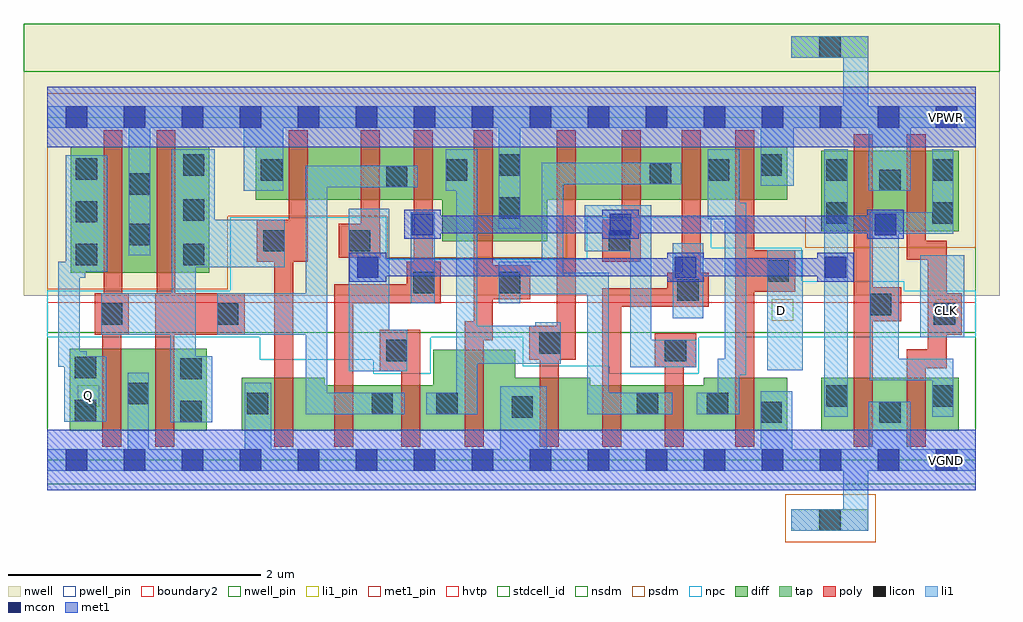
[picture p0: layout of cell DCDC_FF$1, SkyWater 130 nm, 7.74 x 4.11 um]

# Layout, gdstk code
import gdstk
lib = gdstk.Library(unit=1e-6, precision=1e-09)
def R(c, l, rs):  # rectangles x0, y0, x1, y1
    for r in rs: c.add(gdstk.rectangle(r[:2], r[2:], *l))
def A(c, l, x, y, w, h, nx, ny, dx, dy):  # array of equal rectangles
    R(c, l, [(x+i*dx, y+j*dy, x+i*dx+w, y+j*dy+h) for i in range(nx) for j in range(ny)])
def P(c, l, *ps):  # polygons
    for p in ps: c.add(gdstk.Polygon(p, *l))
nwell_pin = (64, 16)
nwell = (64, 20)
diff = (65, 20)
tap = (65, 44)
poly = (66, 20)
licon = (66, 44)
li1_pin = (67, 16)
li1 = (67, 20)
mcon = (67, 44)
met1_pin = (68, 16)
met1 = (68, 20)
hvtp = (78, 44)
stdcell_id = (81, 4)
nsdm = (93, 44)
psdm = (94, 20)
npc = (95, 20)
pwell_pin = (122, 16)
boundary2 = (236, 0)

dcdc_ff_1 = lib.new_cell('DCDC_FF$1')
R(dcdc_ff_1, nwell_pin, [(-71.972,4.667,-71.802,4.837), (-71.972,4.667,-71.802,4.837)])
R(dcdc_ff_1, nwell, [(-79.207,3.337,-71.467,5.492)])
R(dcdc_ff_1, diff, [(-78.842,2.267,-77.752,2.917), (-72.882,2.267,-71.792,2.687), (-78.832,3.517,-77.732,4.517), (-72.882,3.847,-71.792,4.487)])
P(dcdc_ff_1, diff, [(-77.477,2.267),(-77.477,2.687),(-76.817,2.687),(-76.817,2.627),(-75.957,2.627),(-75.957,2.907),(-75.307,2.907),(-75.307,2.687),(-74.712,2.687),(-74.712,2.627),(-73.812,2.627),(-73.812,2.687),(-73.152,2.687),(-73.152,2.267)],
  [(-75.887,3.767),(-75.887,4.097),(-77.367,4.097),(-77.367,4.517),(-73.152,4.517),(-73.152,4.097),(-75.052,4.097),(-75.052,3.767)])
R(dcdc_ff_1, tap, [(-73.117,1.472,-72.507,1.642), (-73.117,5.222,-72.507,5.392)])
P(dcdc_ff_1, poly, [(-75.707,2.137),(-75.707,3.132),(-75.637,3.132),(-75.637,4.647),(-75.487,4.647),(-75.487,3.577),(-75.187,3.577),(-75.187,3.307),(-75.487,3.307),(-75.487,2.982),(-75.557,2.982),(-75.557,2.137)],
  [(-76.212,2.137),(-76.212,2.737),(-76.382,2.737),(-76.382,3.067),(-76.062,3.067),(-76.062,2.137)],
  [(-78.162,2.137),(-78.162,3.357),(-78.152,3.357),(-78.152,4.647),(-78.002,4.647),(-78.002,3.357),(-77.452,3.357),(-77.452,3.027),(-78.012,3.027),(-78.012,2.137)],
  [(-78.582,2.137),(-78.582,3.027),(-78.642,3.027),(-78.642,3.357),(-78.572,3.357),(-78.572,4.647),(-78.422,4.647),(-78.422,3.357),(-78.372,3.357),(-78.372,3.027),(-78.432,3.027),(-78.432,2.137)],
  [(-72.202,2.137),(-72.202,2.912),(-72.037,2.912),(-72.037,3.622),(-72.202,3.622),(-72.202,4.617),(-72.052,4.617),(-72.052,3.772),(-71.887,3.772),(-71.887,3.357),(-71.767,3.357),(-71.767,3.027),(-71.887,3.027),(-71.887,2.762),(-72.052,2.762),(-72.052,2.137)],
  [(-76.742,2.137),(-76.742,3.427),(-76.167,3.427),(-76.167,3.607),(-76.112,3.607),(-76.112,4.647),(-75.962,4.647),(-75.962,3.607),(-75.897,3.607),(-75.897,3.277),(-76.592,3.277),(-76.592,2.137)],
  [(-72.622,2.137),(-72.622,4.617),(-72.472,4.617),(-72.472,3.402),(-72.247,3.402),(-72.247,3.132),(-72.472,3.132),(-72.472,2.137)],
  [(-76.707,3.637),(-76.707,3.907),(-76.532,3.907),(-76.532,4.647),(-76.382,4.647),(-76.382,3.907),(-76.377,3.907),(-76.377,3.637)],
  [(-77.217,2.137),(-77.217,3.607),(-77.357,3.607),(-77.357,3.937),(-77.102,3.937),(-77.102,4.647),(-76.952,4.647),(-76.952,3.607),(-77.067,3.607),(-77.067,2.137)],
  [(-74.617,3.607),(-74.617,3.937),(-74.462,3.937),(-74.462,4.647),(-74.312,4.647),(-74.312,3.607)],
  [(-74.617,2.137),(-74.617,3.397),(-74.102,3.397),(-74.102,3.517),(-73.987,3.517),(-73.987,4.647),(-73.837,4.647),(-73.837,3.517),(-73.772,3.517),(-73.772,3.247),(-74.467,3.247),(-74.467,2.137)],
  [(-73.562,2.137),(-73.562,4.647),(-73.412,4.647),(-73.412,3.697),(-73.087,3.697),(-73.087,3.367),(-73.412,3.367),(-73.412,2.137)],
  [(-74.122,2.137),(-74.122,2.767),(-74.202,2.767),(-74.202,3.037),(-73.872,3.037),(-73.872,2.767),(-73.972,2.767),(-73.972,2.137)],
  [(-75.112,2.137),(-75.112,2.827),(-75.197,2.827),(-75.197,3.097),(-74.977,3.097),(-74.977,4.647),(-74.827,4.647),(-74.827,2.827),(-74.962,2.827),(-74.962,2.137)])
A(dcdc_ff_1, licon, -78.792, 3.577, 0.17, 0.17, 1, 3, 0, 0.34)
A(dcdc_ff_1, licon, -77.942, 3.577, 0.17, 0.17, 1, 3, 0, 0.355)
R(dcdc_ff_1, licon, [(-72.897,1.472,-72.727,1.642), (-73.362,2.327,-73.192,2.497), (-72.422,2.327,-72.252,2.497), (-77.962,2.332,-77.792,2.502), (-78.802,2.342,-78.632,2.512), (-75.337,2.367,-75.167,2.537), (-77.437,2.397,-77.267,2.567), (-76.447,2.397,-76.277,2.567), (-75.932,2.397,-75.762,2.567), (-74.342,2.397,-74.172,2.567), (-73.787,2.397,-73.617,2.567), (-72.842,2.457,-72.672,2.627), (-72.002,2.457,-71.832,2.627), (-78.382,2.477,-78.212,2.647), (-77.962,2.672,-77.792,2.842), (-78.802,2.682,-78.632,2.852), (-76.332,2.817,-76.162,2.987), (-74.122,2.817,-73.952,2.987), (-75.117,2.877,-74.947,3.047), (-78.592,3.107,-78.422,3.277), (-77.672,3.107,-77.502,3.277), (-71.987,3.107,-71.817,3.277), (-72.497,3.182,-72.327,3.352), (-74.022,3.297,-73.852,3.467), (-76.117,3.357,-75.947,3.527), (-75.437,3.357,-75.267,3.527), (-73.307,3.447,-73.137,3.617), (-77.307,3.687,-77.137,3.857), (-76.627,3.687,-76.457,3.857), (-74.567,3.687,-74.397,3.857), (-78.372,3.737,-78.202,3.907), (-72.842,3.907,-72.672,4.077), (-72.002,3.907,-71.832,4.077), (-75.437,3.947,-75.267,4.117), (-78.372,4.137,-78.202,4.307), (-72.422,4.167,-72.252,4.337), (-76.332,4.197,-76.162,4.367), (-74.242,4.222,-74.072,4.392), (-77.327,4.247,-77.157,4.417), (-75.857,4.247,-75.687,4.417), (-73.782,4.247,-73.612,4.417), (-72.842,4.247,-72.672,4.417), (-72.002,4.247,-71.832,4.417), (-75.437,4.287,-75.267,4.457), (-73.362,4.287,-73.192,4.457), (-72.897,5.222,-72.727,5.392)])
R(dcdc_ff_1, li1_pin, [(-78.777,2.457,-78.607,2.627), (-73.272,3.137,-73.102,3.307), (-71.972,3.137,-71.802,3.307)])
R(dcdc_ff_1, li1, [(-73.117,1.472,-72.507,1.642), (-72.707,1.472,-72.507,2.117), (-72.857,2.377,-72.672,4.497), (-73.307,2.747,-73.027,3.697), (-72.097,3.007,-71.747,3.657), (-74.057,3.157,-73.817,3.752), (-76.137,3.277,-75.947,3.997), (-72.707,4.667,-72.507,5.392), (-73.117,5.222,-72.507,5.392)])
P(dcdc_ff_1, li1, [(-76.012,2.397),(-76.012,2.567),(-75.777,2.567),(-75.777,4.167),(-75.857,4.167),(-75.857,4.497),(-75.607,4.497),(-75.607,3.097),(-75.147,3.097),(-75.147,3.127),(-74.947,3.127),(-74.947,2.797),(-75.607,2.797),(-75.607,2.397)],
  [(-74.737,2.397),(-74.737,3.347),(-75.267,3.347),(-75.267,3.277),(-75.437,3.277),(-75.437,3.607),(-75.097,3.607),(-75.097,4.392),(-73.992,4.392),(-73.992,4.222),(-74.927,4.222),(-74.927,3.517),(-74.567,3.517),(-74.567,2.567),(-74.062,2.567),(-74.062,2.397)],
  [(-74.397,2.767),(-74.397,3.687),(-74.757,3.687),(-74.757,4.052),(-74.227,4.052),(-74.227,2.987),(-73.872,2.987),(-73.872,2.767)],
  [(-73.867,2.397),(-73.867,2.567),(-73.702,2.567),(-73.702,2.837),(-73.647,2.837),(-73.647,3.942),(-73.782,3.942),(-73.782,4.497),(-73.532,4.497),(-73.532,4.072),(-73.477,4.072),(-73.477,2.707),(-73.532,2.707),(-73.532,2.397)],
  [(-79.017,1.947),(-79.017,2.117),(-78.382,2.117),(-78.382,2.727),(-78.212,2.727),(-78.212,2.117),(-77.452,2.117),(-77.452,2.647),(-77.242,2.647),(-77.242,2.117),(-75.427,2.117),(-75.427,2.617),(-75.057,2.617),(-75.057,2.117),(-73.362,2.117),(-73.362,2.577),(-73.112,2.577),(-73.112,2.117),(-72.502,2.117),(-72.502,2.497),(-72.172,2.497),(-72.172,2.117),(-71.657,2.117),(-71.657,1.947)],
  [(-78.372,3.657),(-78.372,4.667),(-79.017,4.667),(-79.017,4.837),(-71.657,4.837),(-71.657,4.667),(-72.172,4.667),(-72.172,4.167),(-72.502,4.167),(-72.502,4.667),(-73.097,4.667),(-73.097,4.207),(-73.362,4.207),(-73.362,4.667),(-75.267,4.667),(-75.267,3.867),(-75.437,3.867),(-75.437,4.667),(-77.147,4.667),(-77.147,4.167),(-77.462,4.167),(-77.462,4.667),(-78.202,4.667),(-78.202,3.657)],
  [(-72.002,2.377),(-72.002,2.667),(-72.497,2.667),(-72.497,3.997),(-72.002,3.997),(-72.002,4.497),(-71.832,4.497),(-71.832,3.827),(-72.267,3.827),(-72.267,2.837),(-71.832,2.837),(-71.832,2.377)],
  [(-76.627,2.737),(-76.627,4.027),(-76.307,4.027),(-76.307,3.067),(-76.162,3.067),(-76.162,2.737)],
  [(-78.882,2.337),(-78.882,2.772),(-78.932,2.772),(-78.932,3.607),(-78.872,3.607),(-78.872,4.452),(-78.542,4.452),(-78.542,3.527),(-78.717,3.527),(-78.717,3.477),(-78.762,3.477),(-78.762,2.897),(-78.707,2.897),(-78.707,2.857),(-78.552,2.857),(-78.552,2.337)],
  [(-78.042,2.332),(-78.042,3.027),(-78.592,3.027),(-78.592,3.357),(-78.032,3.357),(-78.032,4.497),(-77.692,4.497),(-77.692,3.937),(-77.137,3.937),(-77.137,3.562),(-77.842,3.562),(-77.842,2.857),(-77.712,2.857),(-77.712,2.332)],
  [(-76.967,2.397),(-76.967,3.027),(-77.672,3.027),(-77.672,3.357),(-76.967,3.357),(-76.967,4.367),(-76.082,4.367),(-76.082,4.197),(-76.797,4.197),(-76.797,2.567),(-76.182,2.567),(-76.182,2.397)])
A(dcdc_ff_1, mcon, -78.872, 1.947, 0.17, 0.17, 16, 2, 0.46, 2.72)
R(dcdc_ff_1, mcon, [(-76.562,3.477,-76.392,3.647), (-74.042,3.477,-73.872,3.647), (-72.852,3.477,-72.682,3.647), (-76.127,3.817,-75.957,3.987), (-74.557,3.817,-74.387,3.987), (-72.457,3.817,-72.287,3.987)])
R(dcdc_ff_1, met1_pin, [(-71.972,1.947,-71.802,2.117), (-71.972,4.667,-71.802,4.837)])
R(dcdc_ff_1, met1, [(-79.017,1.792,-71.657,2.272), (-79.017,4.512,-71.657,4.992)])
P(dcdc_ff_1, met1, [(-76.622,3.447),(-76.622,3.677),(-76.332,3.677),(-76.332,3.632),(-74.102,3.632),(-74.102,3.677),(-73.812,3.677),(-73.812,3.632),(-72.912,3.632),(-72.912,3.677),(-72.622,3.677),(-72.622,3.447),(-72.912,3.447),(-72.912,3.492),(-73.812,3.492),(-73.812,3.447),(-74.102,3.447),(-74.102,3.492),(-76.332,3.492),(-76.332,3.447)],
  [(-76.187,3.787),(-76.187,4.017),(-75.897,4.017),(-75.897,3.972),(-74.617,3.972),(-74.617,4.017),(-74.327,4.017),(-74.327,3.972),(-72.517,3.972),(-72.517,4.017),(-72.227,4.017),(-72.227,3.787),(-72.517,3.787),(-72.517,3.832),(-74.327,3.832),(-74.327,3.787),(-74.617,3.787),(-74.617,3.832),(-75.897,3.832),(-75.897,3.787)])
R(dcdc_ff_1, hvtp, [(-79.017,3.282,-71.657,4.752)])
R(dcdc_ff_1, stdcell_id, [(-79.017,2.032,-71.657,4.752)])
R(dcdc_ff_1, nsdm, [(-79.017,1.842,-71.657,3.047), (-79.207,5.112,-71.467,5.492)])
R(dcdc_ff_1, psdm, [(-73.167,1.382,-72.447,1.762)])
P(dcdc_ff_1, psdm, [(-79.017,3.387),(-79.017,4.942),(-71.657,4.942),(-71.657,3.717),(-73.007,3.717),(-73.007,3.967),(-74.897,3.967),(-74.897,3.637),(-76.322,3.637),(-76.322,3.967),(-77.587,3.967),(-77.587,3.387)])
P(dcdc_ff_1, npc, [(-76.432,2.717),(-76.432,2.827),(-77.332,2.827),(-77.332,3.007),(-79.017,3.007),(-79.017,3.377),(-77.567,3.377),(-77.567,3.957),(-76.332,3.957),(-76.332,3.627),(-74.742,3.627),(-74.742,3.957),(-73.752,3.957),(-73.752,3.717),(-73.037,3.717),(-73.037,3.452),(-72.222,3.452),(-72.222,3.377),(-71.657,3.377),(-71.657,3.007),(-73.852,3.007),(-73.852,2.717),(-74.562,2.717),(-74.562,2.777),(-75.247,2.777),(-75.247,3.007),(-75.977,3.007),(-75.977,2.717)])
R(dcdc_ff_1, pwell_pin, [(-71.972,1.947,-71.802,2.117), (-71.972,1.947,-71.802,2.117)])
R(dcdc_ff_1, boundary2, [(-79.017,2.032,-71.657,4.752)])
dcdc_ff_1.add(gdstk.Label('VGND', (-71.887,2.032), layer=68, texttype=5))
dcdc_ff_1.add(gdstk.Label('VPWR', (-71.887,4.752), layer=68, texttype=5))
dcdc_ff_1.add(gdstk.Label('VNB', (-71.887,2.032), layer=64, texttype=59))
dcdc_ff_1.add(gdstk.Label('VNB', (-71.887,2.032), layer=64, texttype=59))
dcdc_ff_1.add(gdstk.Label('VPB', (-71.887,4.752), layer=64, texttype=5))
dcdc_ff_1.add(gdstk.Label('VPB', (-71.887,4.752), layer=64, texttype=5))
dcdc_ff_1.add(gdstk.Label('dfxtp_1', (-71.657,2.032), layer=83, texttype=44))
dcdc_ff_1.add(gdstk.Label('D', (-73.192,3.222), layer=67, texttype=5))
dcdc_ff_1.add(gdstk.Label('CLK', (-71.887,3.222), layer=67, texttype=5))
dcdc_ff_1.add(gdstk.Label('Q', (-78.692,2.542), layer=67, texttype=5))

lib.write_gds('DCDC_FF_1.gds')
